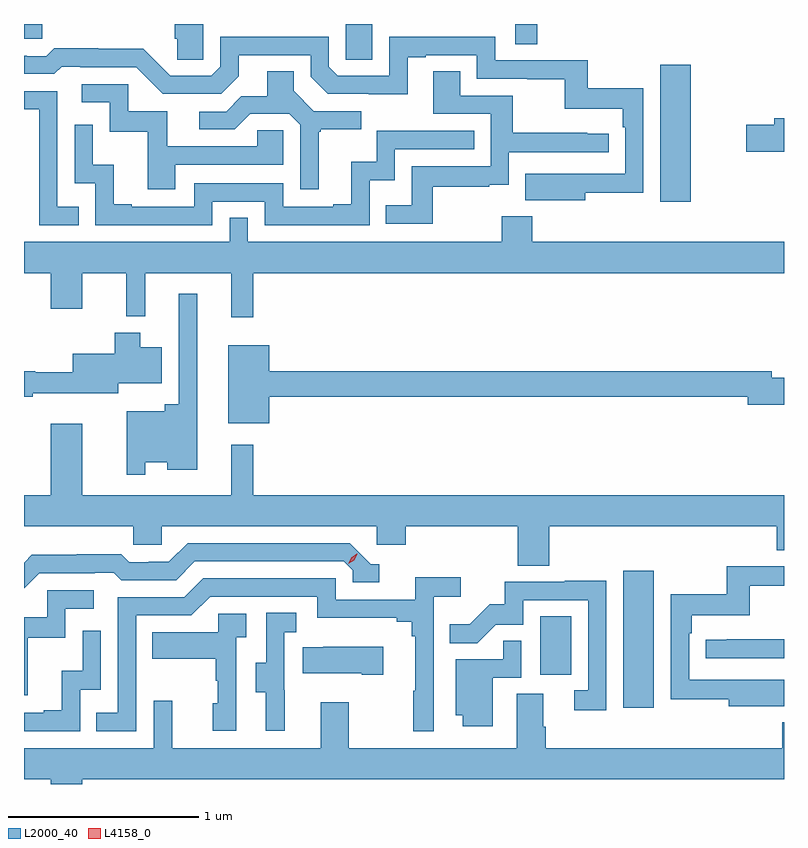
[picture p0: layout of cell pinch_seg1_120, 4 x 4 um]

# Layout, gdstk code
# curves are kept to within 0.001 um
import gdstk
lib = gdstk.Library(unit=1e-6, precision=1e-09)
def R(c, l, rs):  # rectangles x0, y0, x1, y1
    for r in rs: c.add(gdstk.rectangle(r[:2], r[2:], *l))
def P(c, l, *ps):  # polygons
    for p in ps: c.add(gdstk.Polygon(p, *l))
L2000_40 = (2000, 40)
L4158_0 = (4158, 0)

pinch_seg1_120 = lib.new_cell('pinch_seg1_120')
R(pinch_seg1_120, L2000_40, [(1079.108,558.768,1079.269,559.489), (1078.67,558.942,1078.834,559.249), (1079.303,561.432,1079.464,562.153), (1077.648,562.18,1077.787,562.367), (1078.539,562.261,1078.655,562.367), (1075.954,562.29,1076.049,562.367)])
P(pinch_seg1_120, L2000_40, [(1076.898,562.367),(1076.747,562.367),(1076.747,562.29),(1076.761,562.29),(1076.761,562.18),(1076.898,562.18)],
  [(1078.909,561.478),(1079.214,561.478),(1079.214,562.03),(1078.921,562.03),(1078.921,562.176),(1078.434,562.176),(1078.434,562.299),(1077.876,562.299),(1077.876,562.095),(1077.606,562.095),(1077.558,562.143),(1077.558,562.299),(1076.988,562.299),(1076.988,562.143),(1076.94,562.095),(1076.724,562.095),(1076.582,562.237),(1076.346,562.237),(1076.346,562.24),(1076.113,562.24),(1076.071,562.197),(1075.968,562.197),(1075.968,562.2),(1075.954,562.2),(1075.954,562.104),(1076.113,562.104),(1076.152,562.143),(1076.251,562.143),(1076.251,562.14),(1076.544,562.14),(1076.685,561.999),(1076.991,561.999),(1077.085,562.093),(1077.085,562.203),(1077.462,562.203),(1077.462,562.089),(1077.552,561.999),(1077.973,561.998),(1077.973,562.191),(1078.069,562.191),(1078.069,562.203),(1078.338,562.203),(1078.338,562.08),(1078.603,562.08),(1078.603,562.075),(1078.8,562.075),(1078.8,561.92),(1079.105,561.92),(1079.105,561.824),(1079.118,561.824),(1079.118,561.579),(1078.591,561.58),(1078.591,561.44),(1078.909,561.44)],
  [(1078.105,561.51),(1078.403,561.51),(1078.403,561.521),(1078.506,561.521),(1078.506,561.693),(1079.032,561.693),(1079.032,561.789),(1078.919,561.789),(1078.919,561.794),(1078.526,561.794),(1078.526,561.99),(1078.249,561.99),(1078.249,562.118),(1078.109,562.118),(1078.109,561.894),(1078.41,561.894),(1078.41,561.618),(1077.994,561.618),(1077.994,561.412),(1077.859,561.412),(1077.859,561.315),(1078.105,561.315)],
  [(1077.505,561.801),(1077.517,561.801),(1077.517,561.812),(1077.73,561.812),(1077.73,561.909),(1077.48,561.909),(1077.373,562.016),(1077.373,562.118),(1077.233,562.118),(1077.233,561.986),(1077.098,561.986),(1077.018,561.906),(1076.877,561.906),(1076.877,561.813),(1077.064,561.813),(1077.145,561.894),(1077.351,561.894),(1077.408,561.837),(1077.408,561.498),(1077.505,561.498)],
  [(1076.749,561.627),(1077.318,561.627),(1077.318,561.807),(1077.181,561.807),(1077.181,561.723),(1076.707,561.723),(1076.707,561.909),(1076.502,561.909),(1076.502,562.05),(1076.259,562.05),(1076.259,561.954),(1076.406,561.954),(1076.406,561.801),(1076.605,561.801),(1076.605,561.498),(1076.749,561.498)],
  [(1076.243,561.405),(1076.13,561.405),(1076.13,562.014),(1075.954,562.014),(1075.954,561.918),(1076.034,561.918),(1076.034,561.309),(1076.243,561.309)],
  [(1079.954,561.872),(1079.903,561.872),(1079.903,561.836),(1079.754,561.836),(1079.754,561.694),(1079.954,561.694)],
  [(1076.946,561.432),(1077.222,561.432),(1077.222,561.309),(1077.774,561.309),(1077.774,561.545),(1077.906,561.545),(1077.906,561.708),(1078.325,561.708),(1078.325,561.804),(1077.81,561.804),(1077.81,561.643),(1077.677,561.643),(1077.677,561.418),(1077.581,561.418),(1077.581,561.405),(1077.318,561.405),(1077.318,561.528),(1076.85,561.528),(1076.85,561.405),(1076.521,561.405),(1076.521,561.418),(1076.426,561.418),(1076.426,561.626),(1076.316,561.626),(1076.316,561.838),(1076.22,561.838),(1076.22,561.528),(1076.328,561.528),(1076.328,561.309),(1076.946,561.309)],
  [(1077.161,561.056),(1079.954,561.056),(1079.954,561.22),(1078.628,561.22),(1078.628,561.355),(1078.468,561.355),(1078.468,561.22),(1077.132,561.22),(1077.132,561.347),(1077.036,561.347),(1077.036,561.22),(1075.954,561.22),(1075.954,561.056),(1076.096,561.056),(1076.096,560.868),(1076.26,560.868),(1076.26,561.056),(1076.491,561.056),(1076.491,560.828),(1076.591,560.828),(1076.591,561.056),(1077.044,561.056),(1077.044,560.823),(1077.161,560.823)],
  [(1076.592,560.06),(1076.708,560.06),(1076.708,560.021),(1076.866,560.021),(1076.866,560.947),(1076.769,560.947),(1076.769,560.365),(1076.696,560.365),(1076.696,560.329),(1076.496,560.329),(1076.496,559.995),(1076.592,559.995)],
  [(1076,560.423),(1076.449,560.423),(1076.449,560.477),(1076.68,560.477),(1076.68,560.665),(1076.566,560.665),(1076.566,560.743),(1076.432,560.743),(1076.432,560.632),(1076.21,560.632),(1076.21,560.533),(1076.014,560.533),(1076.014,560.54),(1075.954,560.54),(1075.954,560.404),(1076,560.404)],
  [(1077.244,560.404),(1079.762,560.404),(1079.762,560.362),(1079.954,560.362),(1079.954,560.504),(1079.89,560.504),(1079.89,560.54),(1077.244,560.54),(1077.244,560.677),(1077.029,560.677),(1077.029,560.267),(1077.244,560.267)],
  [(1076.26,560.263),(1076.096,560.263),(1076.096,559.888),(1075.954,559.888),(1075.954,559.724),(1076.529,559.724),(1076.529,559.626),(1076.679,559.626),(1076.679,559.724),(1077.81,559.724),(1077.81,559.626),(1077.962,559.626),(1077.962,559.724),(1078.553,559.724),(1078.553,559.516),(1078.718,559.516),(1078.718,559.724),(1079.917,559.724),(1079.917,559.597),(1079.954,559.597),(1079.954,559.888),(1077.161,559.888),(1077.161,560.152),(1077.044,560.152),(1077.044,559.888),(1076.26,559.888)],
  [(1076.034,559.476),(1076.327,559.476),(1076.327,559.479),(1076.426,559.479),(1076.465,559.44),(1076.754,559.44),(1076.853,559.539),(1077.636,559.539),(1077.684,559.491),(1077.684,559.428),(1077.823,559.428),(1077.823,559.524),(1077.78,559.524),(1077.669,559.635),(1076.816,559.635),(1076.717,559.536),(1076.61,559.536),(1076.61,559.533),(1076.507,559.533),(1076.465,559.576),(1076.232,559.576),(1076.232,559.573),(1075.996,559.573),(1075.954,559.531),(1075.954,559.396)],
  [(1079.954,558.916),(1079.767,558.916),(1079.767,558.915),(1079.454,558.915),(1079.454,559.16),(1079.468,559.16),(1079.468,559.256),(1079.773,559.256),(1079.773,559.411),(1079.954,559.411),(1079.954,559.512),(1079.652,559.512),(1079.652,559.366),(1079.358,559.366),(1079.358,558.814),(1079.663,558.814),(1079.663,558.776),(1079.954,558.776)],
  [(1076.544,559.254),(1076.835,559.254),(1076.934,559.353),(1077.498,559.353),(1077.498,559.241),(1077.917,559.241),(1077.917,559.222),(1077.994,559.222),(1077.994,559.145),(1078.013,559.145),(1078.013,558.857),(1078.002,558.857),(1078.002,558.645),(1078.11,558.645),(1078.11,559.352),(1078.252,559.352),(1078.252,559.454),(1078.013,559.454),(1078.013,559.338),(1077.594,559.338),(1077.594,559.449),(1076.897,559.449),(1076.798,559.35),(1076.448,559.35),(1076.448,558.741),(1076.335,558.741),(1076.335,558.645),(1076.544,558.645)],
  [(1079.019,559.436),(1078.801,559.436),(1078.801,559.431),(1078.483,559.431),(1078.483,559.314),(1078.406,559.314),(1078.299,559.207),(1078.195,559.207),(1078.195,559.109),(1078.339,559.109),(1078.436,559.206),(1078.581,559.206),(1078.581,559.335),(1078.923,559.335),(1078.923,558.861),(1078.851,558.861),(1078.851,558.756),(1079.019,558.756)],
  [(1075.973,559.137),(1076.172,559.137),(1076.172,559.29),(1076.32,559.29),(1076.32,559.386),(1076.076,559.386),(1076.076,559.245),(1075.954,559.245),(1075.954,558.834),(1075.973,558.834)],
  [(1077.326,558.861),(1077.324,558.861),(1077.324,559.165),(1077.388,559.165),(1077.388,559.268),(1077.228,559.268),(1077.228,559.005),(1077.173,559.005),(1077.173,558.85),(1077.227,558.85),(1077.227,558.648),(1077.326,558.648)],
  [(1077.072,559.139),(1077.124,559.139),(1077.124,559.263),(1076.976,559.263),(1076.976,559.165),(1076.629,559.165),(1076.629,559.025),(1076.964,559.025),(1076.964,558.911),(1076.974,558.911),(1076.974,558.792),(1076.948,558.792),(1076.948,558.648),(1077.072,558.648)],
  [(1076.25,558.864),(1076.358,558.864),(1076.358,559.174),(1076.262,559.174),(1076.262,558.962),(1076.153,558.962),(1076.153,558.754),(1076.057,558.754),(1076.057,558.741),(1075.954,558.741),(1075.954,558.645),(1076.25,558.645)],
  [(1079.954,559.13),(1079.653,559.13),(1079.653,559.125),(1079.541,559.125),(1079.541,559.029),(1079.954,559.029)],
  [(1078.42,558.927),(1078.572,558.927),(1078.572,559.121),(1078.477,559.121),(1078.477,559.023),(1078.226,559.023),(1078.226,558.728),(1078.262,558.728),(1078.262,558.672),(1078.42,558.672)],
  [(1077.844,559.09),(1077.529,559.09),(1077.529,559.087),(1077.421,559.087),(1077.421,558.95),(1077.731,558.95),(1077.731,558.943),(1077.844,558.943)],
  [(1076.26,558.392),(1079.954,558.392),(1079.954,558.691),(1079.945,558.691),(1079.945,558.556),(1078.7,558.556),(1078.7,558.668),(1078.687,558.668),(1078.687,558.842),(1078.547,558.842),(1078.547,558.556),(1077.663,558.556),(1077.663,558.796),(1077.515,558.796),(1077.515,558.556),(1076.735,558.556),(1076.735,558.805),(1076.637,558.805),(1076.637,558.556),(1075.954,558.556),(1075.954,558.392),(1076.096,558.392),(1076.096,558.367),(1076.26,558.367)])
P(pinch_seg1_120, L4158_0, [(1077.66,559.525),(1077.66,559.525),(1077.676,559.558),(1077.706,559.578),(1077.707,559.578),(1077.707,559.578),(1077.691,559.545),(1077.66,559.525)])

lib.write_gds('pinch_seg1_120.gds')
